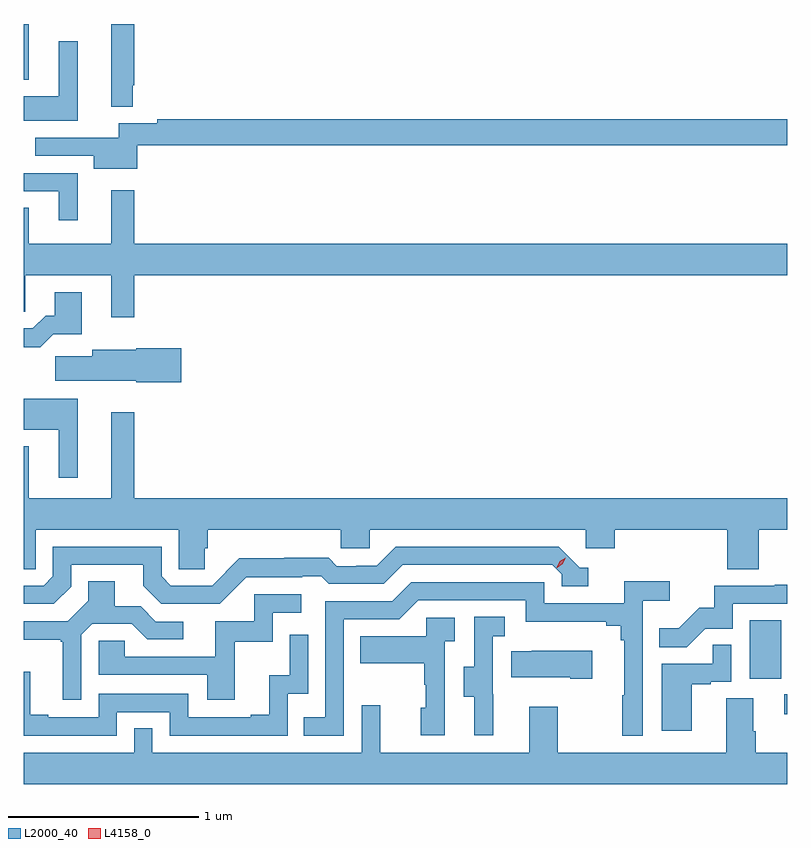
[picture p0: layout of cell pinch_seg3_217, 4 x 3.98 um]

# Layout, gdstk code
import gdstk
lib = gdstk.Library(unit=1e-6, precision=1e-09)
def R(c, l, rs):  # rectangles x0, y0, x1, y1
    for r in rs: c.add(gdstk.rectangle(r[:2], r[2:], *l))
def P(c, l, *ps):  # polygons
    for p in ps: c.add(gdstk.Polygon(p, *l))
L2000_40 = (2000, 40)
L4158_0 = (4158, 0)

pinch_seg3_217 = lib.new_cell('pinch_seg3_217')
R(pinch_seg3_217, L2000_40, [(952.977,734.58,952.993,734.685), (952.796,734.766,952.96,735.073), (948.993,737.903,949.021,738.196)])
P(pinch_seg3_217, L2000_40, [(949.564,737.875),(949.573,737.875),(949.573,738.196),(949.451,738.196),(949.451,737.763),(949.564,737.763)],
  [(949.276,738.106),(949.178,738.106),(949.178,737.818),(948.993,737.818),(948.993,737.69),(949.276,737.69)],
  [(949.587,737.56),(952.993,737.56),(952.993,737.696),(949.694,737.696),(949.694,737.676),(949.491,737.676),(949.491,737.601),(949.053,737.601),(949.053,737.505),(949.361,737.505),(949.361,737.438),(949.587,737.438)],
  [(949.276,737.415),(948.993,737.415),(948.993,737.319),(949.178,737.319),(949.178,737.169),(949.276,737.169)],
  [(949.573,736.88),(952.993,736.88),(952.993,737.044),(949.573,737.044),(949.573,737.326),(949.451,737.326),(949.451,737.044),(949.021,737.044),(949.021,737.234),(948.993,737.234),(948.993,736.69),(949.002,736.69),(949.002,736.88),(949.451,736.88),(949.451,736.659),(949.573,736.659)],
  [(949.148,736.571),(949.297,736.571),(949.297,736.792),(949.157,736.792),(949.157,736.669),(949.108,736.669),(949.041,736.602),(948.993,736.602),(948.993,736.502),(949.079,736.502)],
  [(949.819,736.497),(949.584,736.497),(949.584,736.489),(949.352,736.489),(949.352,736.457),(949.158,736.457),(949.158,736.328),(949.584,736.328),(949.584,736.319),(949.819,736.319)],
  [(949.276,736.234),(948.993,736.234),(948.993,736.07),(949.178,736.07),(949.178,735.819),(949.276,735.819)],
  [(949.056,735.548),(949.806,735.548),(949.806,735.34),(949.943,735.34),(949.943,735.45),(949.958,735.45),(949.958,735.548),(950.655,735.548),(950.655,735.45),(950.805,735.45),(950.805,735.548),(951.936,735.548),(951.936,735.45),(952.088,735.45),(952.088,735.548),(952.679,735.548),(952.679,735.34),(952.844,735.34),(952.844,735.548),(952.993,735.548),(952.993,735.712),(949.573,735.712),(949.573,736.162),(949.451,736.162),(949.451,735.712),(949.021,735.712),(949.021,735.985),(948.993,735.985),(948.993,735.34),(949.056,735.34)],
  [(949.242,735.249),(949.242,735.363),(949.619,735.363),(949.619,735.253),(949.713,735.159),(950.019,735.159),(950.16,735.3),(950.453,735.3),(950.453,735.303),(950.552,735.303),(950.591,735.264),(950.88,735.264),(950.979,735.363),(951.762,735.363),(951.81,735.315),(951.81,735.252),(951.949,735.252),(951.949,735.348),(951.906,735.348),(951.795,735.459),(950.942,735.459),(950.843,735.36),(950.736,735.36),(950.736,735.357),(950.633,735.357),(950.591,735.4),(950.358,735.4),(950.358,735.397),(950.122,735.397),(949.98,735.255),(949.764,735.255),(949.716,735.303),(949.716,735.459),(949.146,735.459),(949.146,735.303),(949.098,735.255),(948.993,735.255),(948.993,735.159),(949.152,735.159)],
  [(950.67,735.078),(950.961,735.078),(951.06,735.177),(951.624,735.177),(951.624,735.065),(952.043,735.065),(952.043,735.046),(952.12,735.046),(952.12,734.969),(952.139,734.969),(952.139,734.681),(952.128,734.681),(952.128,734.469),(952.236,734.469),(952.236,735.176),(952.378,735.176),(952.378,735.278),(952.139,735.278),(952.139,735.162),(951.72,735.162),(951.72,735.273),(951.023,735.273),(950.924,735.174),(950.574,735.174),(950.574,734.565),(950.461,734.565),(950.461,734.469),(950.67,734.469)],
  [(949.296,734.997),(949.353,735.054),(949.559,735.054),(949.64,734.973),(949.828,734.973),(949.828,735.066),(949.686,735.066),(949.606,735.146),(949.471,735.146),(949.471,735.278),(949.331,735.278),(949.331,735.176),(949.224,735.069),(948.993,735.069),(948.993,734.972),(949.188,734.972),(949.188,734.961),(949.199,734.961),(949.199,734.658),(949.296,734.658)],
  [(952.563,735.03),(952.707,735.03),(952.707,735.159),(952.993,735.159),(952.993,735.26),(952.927,735.26),(952.927,735.255),(952.609,735.255),(952.609,735.138),(952.532,735.138),(952.425,735.031),(952.321,735.031),(952.321,734.932),(952.465,734.932)],
  [(950.099,734.961),(950.298,734.961),(950.298,735.114),(950.446,735.114),(950.446,735.21),(950.202,735.21),(950.202,735.069),(949.997,735.069),(949.997,734.883),(949.523,734.883),(949.523,734.967),(949.386,734.967),(949.386,734.787),(949.955,734.787),(949.955,734.658),(950.099,734.658)],
  [(951.452,734.685),(951.45,734.685),(951.45,734.989),(951.514,734.989),(951.514,735.092),(951.354,735.092),(951.354,734.829),(951.299,734.829),(951.299,734.674),(951.353,734.674),(951.353,734.472),(951.452,734.472)],
  [(951.198,734.963),(951.25,734.963),(951.25,735.087),(951.102,735.087),(951.102,734.989),(950.755,734.989),(950.755,734.849),(951.09,734.849),(951.09,734.735),(951.1,734.735),(951.1,734.616),(951.074,734.616),(951.074,734.472),(951.198,734.472)],
  [(949.482,734.592),(949.758,734.592),(949.758,734.469),(950.376,734.469),(950.376,734.688),(950.484,734.688),(950.484,734.998),(950.388,734.998),(950.388,734.786),(950.279,734.786),(950.279,734.578),(950.183,734.578),(950.183,734.565),(949.854,734.565),(949.854,734.688),(949.386,734.688),(949.386,734.565),(949.123,734.565),(949.123,734.578),(949.027,734.578),(949.027,734.803),(948.993,734.803),(948.993,734.469),(949.482,734.469)],
  [(952.492,734.739),(952.592,734.739),(952.592,734.751),(952.698,734.751),(952.698,734.945),(952.603,734.945),(952.603,734.847),(952.334,734.847),(952.334,734.496),(952.492,734.496)],
  [(951.97,734.914),(951.655,734.914),(951.655,734.911),(951.547,734.911),(951.547,734.774),(951.857,734.774),(951.857,734.767),(951.97,734.767)],
  [(952.993,734.38),(952.826,734.38),(952.826,734.492),(952.813,734.492),(952.813,734.666),(952.673,734.666),(952.673,734.38),(951.789,734.38),(951.789,734.62),(951.641,734.62),(951.641,734.38),(950.861,734.38),(950.861,734.629),(950.763,734.629),(950.763,734.38),(949.668,734.38),(949.668,734.507),(949.572,734.507),(949.572,734.38),(948.993,734.38),(948.993,734.216),(952.993,734.216)])
P(pinch_seg3_217, L4158_0, [(951.786,735.348),(951.786,735.349),(951.802,735.382),(951.832,735.402),(951.832,735.402),(951.832,735.402),(951.817,735.369),(951.787,735.348)])

lib.write_gds('pinch_seg3_217.gds')
